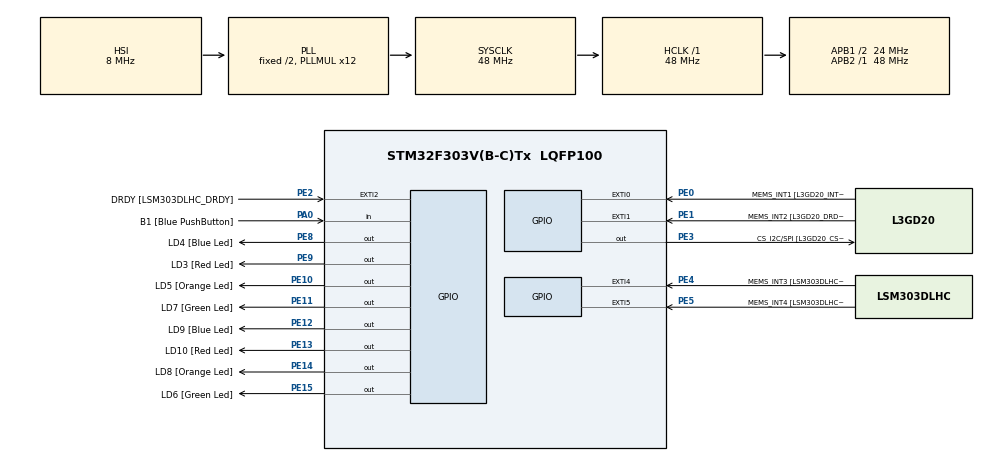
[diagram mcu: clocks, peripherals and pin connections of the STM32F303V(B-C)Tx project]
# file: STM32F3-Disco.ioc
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FREERTOS.Tasks01=defaultTask,0,128,StartDefaultTask,Default;ButtonTask,2,128,StartButtonTask,Default;ApplikationTask,-3,128,StartApplikationTask,Default
Mcu.Family=STM32F3
Mcu.Name=STM32F303V(B-C)Tx
Mcu.Package=LQFP100
NVIC.PriorityGroup=NVIC_PRIORITYGROUP_4
NVIC.TIM1_UP_TIM16_IRQn=true\:0\:0\:false\:false\:true
NVIC.TimeBase=TIM1_UP_TIM16_IRQn
NVIC.TimeBaseIP=TIM1
PA0.GPIO_Label=B1 [Blue PushButton]
PA0.GPIO_Mode=GPIO_MODE_INPUT
PA0.GPIO_PuPd=GPIO_NOPULL
PA0.Signal=GPIO_Input
PA11.GPIO_Label=DM
PA11.Signal=USB_DM
PA12.GPIO_Label=DP
PA12.Signal=USB_DP
PA13.GPIO_Label=SWDIO
PA13.Mode=Serial-Wire
PA13.Signal=SYS_JTMS-SWDIO
PA14.GPIO_Label=SWCLK
PA14.Mode=Serial-Wire
PA14.Signal=SYS_JTCK-SWCLK
PA5.GPIO_Label=SPI1_SCK [L3GD20_SCL/SPC]
PA5.GPIO_Mode=GPIO_MODE_AF_PP
PA5.GPIO_PuPd=GPIO_NOPULL
PA5.GPIO_Speed=GPIO_SPEED_LOW
PA5.Signal=SPI1_SCK
PA6.GPIO_Label=SPI1_MISO [L3GD20_SA0/SDO]
PA6.GPIO_Mode=GPIO_MODE_AF_PP
PA6.GPIO_PuPd=GPIO_NOPULL
PA6.GPIO_Speed=GPIO_SPEED_LOW
PA6.Signal=SPI1_MISO
PA7.GPIO_Label=SPI1_MISO [L3GD20_SDA/SDI/SDO]
PA7.GPIO_Mode=GPIO_MODE_AF_PP
PA7.GPIO_PuPd=GPIO_NOPULL
PA7.GPIO_Speed=GPIO_SPEED_LOW
PA7.Signal=SPI1_MOSI
PB3.GPIO_Label=SWO
PB3.Signal=SYS_JTDO-TRACESWO
PB6.GPIO_FM6=__NULL
PB6.GPIO_Label=I2C1_SCL [LSM303DLHC_SCL]
PB6.GPIO_Mode=GPIO_MODE_AF_OD
PB6.GPIO_PuPd=GPIO_NOPULL
PB6.GPIO_Speed=GPIO_SPEED_LOW
PB6.Signal=I2C1_SCL
PB7.GPIO_FM7=__NULL
PB7.GPIO_Label=I2C1_SDA [LSM303DLHC_SDA]
PB7.GPIO_Mode=GPIO_MODE_AF_OD
PB7.GPIO_PuPd=GPIO_NOPULL
PB7.GPIO_Speed=GPIO_SPEED_LOW
PB7.Signal=I2C1_SDA
PC14-OSC32_IN.GPIO_Label=OSC32_IN
PC14-OSC32_IN.Signal=RCC_OSC32_IN
PC15-OSC32_OUT.GPIO_Label=OSC32_OUT
PC15-OSC32_OUT.Signal=RCC_OSC32_OUT
PE0.GPIO_Label=MEMS_INT1 [L3GD20_INT1]
PE0.GPIO_ModeDefaultEXTI=GPIO_MODE_EVT_RISING
PE0.GPIO_PuPd=GPIO_NOPULL
PE0.Signal=GPXTI0
PE1.GPIO_Label=MEMS_INT2 [L3GD20_DRDY/INT2]
PE1.GPIO_ModeDefaultEXTI=GPIO_MODE_EVT_RISING
PE1.GPIO_PuPd=GPIO_NOPULL
PE1.Signal=GPXTI1
PE10.GPIO_Label=LD5 [Orange Led]
PE10.GPIO_ModeDefaultOutputPP=GPIO_MODE_OUTPUT_PP
PE10.GPIO_PuPd=GPIO_NOPULL
PE10.GPIO_Speed=GPIO_SPEED_LOW
PE10.Signal=GPIO_Output
PE11.GPIO_Label=LD7 [Green Led]
PE11.GPIO_ModeDefaultOutputPP=GPIO_MODE_OUTPUT_PP
PE11.GPIO_PuPd=GPIO_NOPULL
PE11.GPIO_Speed=GPIO_SPEED_LOW
PE11.Signal=GPIO_Output
PE12.GPIO_Label=LD9 [Blue Led]
PE12.GPIO_ModeDefaultOutputPP=GPIO_MODE_OUTPUT_PP
PE12.GPIO_PuPd=GPIO_NOPULL
PE12.GPIO_Speed=GPIO_SPEED_LOW
PE12.Signal=GPIO_Output
PE13.GPIO_Label=LD10 [Red Led]
PE13.GPIO_ModeDefaultOutputPP=GPIO_MODE_OUTPUT_PP
PE13.GPIO_PuPd=GPIO_NOPULL
PE13.GPIO_Speed=GPIO_SPEED_LOW
PE13.Signal=GPIO_Output
PE14.GPIO_Label=LD8 [Orange Led]
PE14.GPIO_ModeDefaultOutputPP=GPIO_MODE_OUTPUT_PP
PE14.GPIO_PuPd=GPIO_NOPULL
PE14.GPIO_Speed=GPIO_SPEED_LOW
PE14.Signal=GPIO_Output
PE15.GPIO_Label=LD6 [Green Led]
PE15.GPIO_ModeDefaultOutputPP=GPIO_MODE_OUTPUT_PP
PE15.GPIO_PuPd=GPIO_NOPULL
PE15.GPIO_Speed=GPIO_SPEED_LOW
PE15.Signal=GPIO_Output
PE2.GPIO_Label=DRDY [LSM303DLHC_DRDY]
PE2.GPIO_ModeDefaultEXTI=GPIO_MODE_EVT_RISING
PE2.GPIO_PuPd=GPIO_NOPULL
PE2.Signal=GPXTI2
PE3.GPIO_Label=CS_I2C/SPI [L3GD20_CS_I2C/SPI]
PE3.GPIO_ModeDefaultOutputPP=GPIO_MODE_OUTPUT_PP
PE3.GPIO_PuPd=GPIO_NOPULL
PE3.GPIO_Speed=GPIO_SPEED_LOW
PE3.Signal=GPIO_Output
PE4.GPIO_Label=MEMS_INT3 [LSM303DLHC_INT1]
PE4.GPIO_ModeDefaultEXTI=GPIO_MODE_EVT_RISING
PE4.GPIO_PuPd=GPIO_NOPULL
PE4.Signal=GPXTI4
PE5.GPIO_Label=MEMS_INT4 [LSM303DLHC_INT2]
PE5.GPIO_ModeDefaultEXTI=GPIO_MODE_EVT_RISING
PE5.GPIO_PuPd=GPIO_NOPULL
PE5.Signal=GPXTI5
PE8.GPIO_Label=LD4 [Blue Led]
PE8.GPIO_ModeDefaultOutputPP=GPIO_MODE_OUTPUT_PP
PE8.GPIO_PuPd=GPIO_NOPULL
PE8.GPIO_Speed=GPIO_SPEED_LOW
PE8.Signal=GPIO_Output
PE9.GPIO_Label=LD3 [Red Led]
PE9.GPIO_ModeDefaultOutputPP=GPIO_MODE_OUTPUT_PP
PE9.GPIO_PuPd=GPIO_NOPULL
PE9.GPIO_Speed=GPIO_SPEED_LOW
PE9.Signal=GPIO_Output
PF0-OSC_IN.GPIO_Label=OSC_IN
PF0-OSC_IN.Mode=HSE-External-Oscillator
PF0-OSC_IN.Signal=RCC_OSC_IN
PF1-OSC_OUT.GPIO_Label=OSC_OUT
PF1-OSC_OUT.Mode=HSE-External-Oscillator
PF1-OSC_OUT.Signal=RCC_OSC_OUT
ProjectManager.HeapSize=0x200
ProjectManager.StackSize=0x400
ProjectManager.TargetToolchain=MDK-ARM V5
RCC.AHBFreq_Value=48000000
RCC.APB1CLKDivider=RCC_HCLK_DIV2
RCC.APB1Freq_Value=24000000
RCC.APB1TimFreq_Value=48000000
RCC.APB2Freq_Value=48000000
RCC.APB2TimFreq_Value=48000000
RCC.CortexFreq_Value=48000000
RCC.HCLKFreq_Value=48000000
RCC.HSE_VALUE=8000000
RCC.HSI_VALUE=8000000
RCC.LSE_VALUE=32768
RCC.PLLMUL=RCC_PLL_MUL12
RCC.SYSCLKFreq_VALUE=48000000
RCC.SYSCLKSourceVirtual=RCC_SYSCLKSOURCE_PLLCLK
RCC.USBFreq_Value=48000000
VP_FREERTOS_VS_ENABLE.Mode=Enabled
VP_SYS_VS_tim1.Mode=TIM1
board=STM32F3DISCOVERY

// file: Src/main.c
/**
  ******************************************************************************
  * File Name          : main.c
  * Description        : Main program body
  ******************************************************************************
  *
  * COPYRIGHT(c) 2016 STMicroelectronics
  *
  * Redistribution and use in source and binary forms, with or without modification,
  * are permitted provided that the following conditions are met:
  *   1. Redistributions of source code must retain the above copyright notice,
  *      this list of conditions and the following disclaimer.
  *   2. Redistributions in binary form must reproduce the above copyright notice,
  *      this list of conditions and the following disclaimer in the documentation
  *      and/or other materials provided with the distribution.
  *   3. Neither the name of STMicroelectronics nor the names of its contributors
  *      may be used to endorse or promote products derived from this software
  *      without specific prior written permission.
  *
  * THIS SOFTWARE IS PROVIDED BY THE COPYRIGHT HOLDERS AND CONTRIBUTORS "AS IS"
  * AND ANY EXPRESS OR IMPLIED WARRANTIES, INCLUDING, BUT NOT LIMITED TO, THE
  * IMPLIED WARRANTIES OF MERCHANTABILITY AND FITNESS FOR A PARTICULAR PURPOSE ARE
  * DISCLAIMED. IN NO EVENT SHALL THE COPYRIGHT HOLDER OR CONTRIBUTORS BE LIABLE
  * FOR ANY DIRECT, INDIRECT, INCIDENTAL, SPECIAL, EXEMPLARY, OR CONSEQUENTIAL
  * DAMAGES (INCLUDING, BUT NOT LIMITED TO, PROCUREMENT OF SUBSTITUTE GOODS OR
  * SERVICES; LOSS OF USE, DATA, OR PROFITS; OR BUSINESS INTERRUPTION) HOWEVER
  * CAUSED AND ON ANY THEORY OF LIABILITY, WHETHER IN CONTRACT, STRICT LIABILITY,
  * OR TORT (INCLUDING NEGLIGENCE OR OTHERWISE) ARISING IN ANY WAY OUT OF THE USE
  * OF THIS SOFTWARE, EVEN IF ADVISED OF THE POSSIBILITY OF SUCH DAMAGE.
  *
  ******************************************************************************
  */
#include "stm32f3xx_hal.h"
#include "cmsis_os.h"
#include "gpio.h"

/* USER CODE BEGIN PV */
/* Private variables ---------------------------------------------------------*/

/* USER CODE END PV */

void SystemClock_Config(void);
void MX_FREERTOS_Init(void);

/* USER CODE BEGIN PFP */
/* Private function prototypes -----------------------------------------------*/

/* USER CODE END PFP */

int main(void)
{

  /* MCU Configuration----------------------------------------------------------*/

  /* Reset of all peripherals, Initializes the Flash interface and the Systick. */
  HAL_Init();

  /* Configure the system clock */
  SystemClock_Config();

  /* Initialize all configured peripherals */
  MX_GPIO_Init();

  /* Call init function for freertos objects (in freertos.c) */
  MX_FREERTOS_Init();

  /* Start scheduler */
  osKernelStart();

  /* We should never get here as control is now taken by the scheduler */

  /* Infinite loop */
	while(1){

  }

}

/** System Clock Configuration
*/
void SystemClock_Config(void)
{

  RCC_OscInitTypeDef RCC_OscInitStruct;
  RCC_ClkInitTypeDef RCC_ClkInitStruct;

  RCC_OscInitStruct.OscillatorType = RCC_OSCILLATORTYPE_HSI;
  RCC_OscInitStruct.HSIState = RCC_HSI_ON;
  RCC_OscInitStruct.HSICalibrationValue = 16;
  RCC_OscInitStruct.PLL.PLLState = RCC_PLL_ON;
  RCC_OscInitStruct.PLL.PLLSource = RCC_PLLSOURCE_HSI;
  RCC_OscInitStruct.PLL.PLLMUL = RCC_PLL_MUL12;
  HAL_RCC_OscConfig(&RCC_OscInitStruct);

  RCC_ClkInitStruct.ClockType = RCC_CLOCKTYPE_HCLK|RCC_CLOCKTYPE_SYSCLK
                              |RCC_CLOCKTYPE_PCLK1|RCC_CLOCKTYPE_PCLK2;
  RCC_ClkInitStruct.SYSCLKSource = RCC_SYSCLKSOURCE_PLLCLK;
  RCC_ClkInitStruct.AHBCLKDivider = RCC_SYSCLK_DIV1;
  RCC_ClkInitStruct.APB1CLKDivider = RCC_HCLK_DIV2;
  RCC_ClkInitStruct.APB2CLKDivider = RCC_HCLK_DIV1;
  HAL_RCC_ClockConfig(&RCC_ClkInitStruct, FLASH_LATENCY_1);

  HAL_SYSTICK_Config(HAL_RCC_GetHCLKFreq()/1000);

  HAL_SYSTICK_CLKSourceConfig(SYSTICK_CLKSOURCE_HCLK);

  /* SysTick_IRQn interrupt configuration */
  HAL_NVIC_SetPriority(SysTick_IRQn, 15, 0);
}

/************************ (C) COPYRIGHT STMicroelectronics *****END OF FILE****/

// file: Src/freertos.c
/**
  ******************************************************************************
  * File Name          : freertos.c
  * Description        : Code for freertos applications
  ******************************************************************************
  *
  * COPYRIGHT(c) 2016 STMicroelectronics
  *
  * Redistribution and use in source and binary forms, with or without modification,
  * are permitted provided that the following conditions are met:
  *   1. Redistributions of source code must retain the above copyright notice,
  *      this list of conditions and the following disclaimer.
  *   2. Redistributions in binary form must reproduce the above copyright notice,
  *      this list of conditions and the following disclaimer in the documentation
  *      and/or other materials provided with the distribution.
  *   3. Neither the name of STMicroelectronics nor the names of its contributors
  *      may be used to endorse or promote products derived from this software
  *      without specific prior written permission.
  *
  * THIS SOFTWARE IS PROVIDED BY THE COPYRIGHT HOLDERS AND CONTRIBUTORS "AS IS"
  * AND ANY EXPRESS OR IMPLIED WARRANTIES, INCLUDING, BUT NOT LIMITED TO, THE
  * IMPLIED WARRANTIES OF MERCHANTABILITY AND FITNESS FOR A PARTICULAR PURPOSE ARE
  * DISCLAIMED. IN NO EVENT SHALL THE COPYRIGHT HOLDER OR CONTRIBUTORS BE LIABLE
  * FOR ANY DIRECT, INDIRECT, INCIDENTAL, SPECIAL, EXEMPLARY, OR CONSEQUENTIAL
  * DAMAGES (INCLUDING, BUT NOT LIMITED TO, PROCUREMENT OF SUBSTITUTE GOODS OR
  * SERVICES; LOSS OF USE, DATA, OR PROFITS; OR BUSINESS INTERRUPTION) HOWEVER
  * CAUSED AND ON ANY THEORY OF LIABILITY, WHETHER IN CONTRACT, STRICT LIABILITY,
  * OR TORT (INCLUDING NEGLIGENCE OR OTHERWISE) ARISING IN ANY WAY OUT OF THE USE
  * OF THIS SOFTWARE, EVEN IF ADVISED OF THE POSSIBILITY OF SUCH DAMAGE.
  *
  ******************************************************************************
  */

#include "FreeRTOS.h"
#include "task.h"
#include "cmsis_os.h"

/* USER CODE BEGIN Includes */
#include "gpio.h"
/* USER CODE END Includes */

osThreadId defaultTaskHandle;
osThreadId ButtonTaskHandle;
osThreadId ApplikationTaskHandle;

/* USER CODE BEGIN Variables */
uint8_t usermode = 0;

/* USER CODE END Variables */

void StartDefaultTask(void const * argument);
void StartButtonTask(void const * argument);
void StartApplikationTask(void const * argument);

void MX_FREERTOS_Init(void); /* (MISRA C 2004 rule 8.1) */

/* USER CODE BEGIN FunctionPrototypes */
void ClearAllLeds(void);
/* USER CODE END FunctionPrototypes */

/* Hook prototypes */

/* Init FreeRTOS */

void MX_FREERTOS_Init(void) {

  /* Create the thread(s) */
  /* definition and creation of defaultTask */
  osThreadDef(defaultTask, StartDefaultTask, osPriorityNormal, 0, 128);
  defaultTaskHandle = osThreadCreate(osThread(defaultTask), NULL);

  /* definition and creation of ButtonTask */
  osThreadDef(ButtonTask, StartButtonTask, osPriorityHigh, 0, 128);
  ButtonTaskHandle = osThreadCreate(osThread(ButtonTask), NULL);

  /* definition and creation of ApplikationTask */
  osThreadDef(ApplikationTask, StartApplikationTask, osPriorityIdle, 0, 128);
  ApplikationTaskHandle = osThreadCreate(osThread(ApplikationTask), NULL);

}

/* StartDefaultTask function */
void StartDefaultTask(void const * argument)
{

  /* USER CODE BEGIN StartDefaultTask */
  /* Infinite loop */
	//osThreadResumeAll();
	//osThreadCreate(ButtonTaskHandle, NULL);
	//osThreadCreate(ApplikationTaskHandle, NULL);

	osThreadResume(defaultTaskHandle);

  for(;;)
  {
    osDelay(10);
  }
  /* USER CODE END StartDefaultTask */
}

/* StartButtonTask function */
void StartButtonTask(void const * argument)
{
  /* USER CODE BEGIN StartButtonTask */
  /* Infinite loop */
  for(;;)
  {
		if(B1_GPIO_Port->IDR & B1_Pin){
			usermode++;
			if(usermode > 2){
				usermode = 0;
			}
			ClearAllLeds();
		}
    osDelay(10);
  }
  /* USER CODE END StartButtonTask */
}

/* StartApplikationTask function */
void StartApplikationTask(void const * argument)
{
  /* USER CODE BEGIN StartApplikationTask */
	uint8_t delay = 125;

  /* Infinite loop */
  for(;;)
  {
		/* spinning LED */
		if(0 == usermode){
			HAL_GPIO_WritePin(LD3_GPIO_Port, LD3_Pin, GPIO_PIN_SET);
			HAL_Delay(delay);
			HAL_GPIO_WritePin(LD5_GPIO_Port, LD5_Pin, GPIO_PIN_SET);
			HAL_Delay(delay);
			HAL_GPIO_WritePin(LD7_GPIO_Port, LD7_Pin, GPIO_PIN_SET);
			HAL_Delay(delay);
			HAL_GPIO_WritePin(LD9_GPIO_Port, LD9_Pin, GPIO_PIN_SET);
			HAL_Delay(delay);
			HAL_GPIO_WritePin(LD10_GPIO_Port, LD10_Pin, GPIO_PIN_SET);
			HAL_Delay(delay);
			HAL_GPIO_WritePin(LD8_GPIO_Port, LD8_Pin, GPIO_PIN_SET);
			HAL_Delay(delay);
			HAL_GPIO_WritePin(LD6_GPIO_Port, LD6_Pin, GPIO_PIN_SET);
			HAL_Delay(delay);
			HAL_GPIO_WritePin(LD4_GPIO_Port, LD4_Pin, GPIO_PIN_SET);
			HAL_Delay(delay);

			HAL_GPIO_WritePin(LD3_GPIO_Port, LD3_Pin, GPIO_PIN_RESET);
			HAL_Delay(delay);
			HAL_GPIO_WritePin(LD5_GPIO_Port, LD5_Pin, GPIO_PIN_RESET);
			HAL_Delay(delay);
			HAL_GPIO_WritePin(LD7_GPIO_Port, LD7_Pin, GPIO_PIN_RESET);
			HAL_Delay(delay);
			HAL_GPIO_WritePin(LD9_GPIO_Port, LD9_Pin, GPIO_PIN_RESET);
			HAL_Delay(delay);
			HAL_GPIO_WritePin(LD10_GPIO_Port, LD10_Pin, GPIO_PIN_RESET);
			HAL_Delay(delay);
			HAL_GPIO_WritePin(LD8_GPIO_Port, LD8_Pin, GPIO_PIN_RESET);
			HAL_Delay(delay);
			HAL_GPIO_WritePin(LD6_GPIO_Port, LD6_Pin, GPIO_PIN_RESET);
			HAL_Delay(delay);
			HAL_GPIO_WritePin(LD4_GPIO_Port, LD4_Pin, GPIO_PIN_RESET);
			HAL_Delay(delay);
		}
		/* gyroscope */
		else if(1 == usermode){
			HAL_GPIO_TogglePin(LD3_GPIO_Port, LD3_Pin);
			HAL_Delay(delay);
		}
		/* magnetometer */
		else if(2 == usermode){
			HAL_GPIO_TogglePin(LD5_GPIO_Port, LD5_Pin);
			HAL_Delay(delay);
		}

    osDelay(20);
  }
  /* USER CODE END StartApplikationTask */
}

/* USER CODE BEGIN Application */
void ClearAllLeds(void){
	HAL_GPIO_WritePin(LD3_GPIO_Port, LD3_Pin, GPIO_PIN_RESET);
	HAL_GPIO_WritePin(LD5_GPIO_Port, LD5_Pin, GPIO_PIN_RESET);
	HAL_GPIO_WritePin(LD7_GPIO_Port, LD7_Pin, GPIO_PIN_RESET);
	HAL_GPIO_WritePin(LD9_GPIO_Port, LD9_Pin, GPIO_PIN_RESET);
	HAL_GPIO_WritePin(LD10_GPIO_Port, LD10_Pin, GPIO_PIN_RESET);
	HAL_GPIO_WritePin(LD8_GPIO_Port, LD8_Pin, GPIO_PIN_RESET);
	HAL_GPIO_WritePin(LD6_GPIO_Port, LD6_Pin, GPIO_PIN_RESET);
	HAL_GPIO_WritePin(LD4_GPIO_Port, LD4_Pin, GPIO_PIN_RESET);
}
/* USER CODE END Application */

/************************ (C) COPYRIGHT STMicroelectronics *****END OF FILE****/
